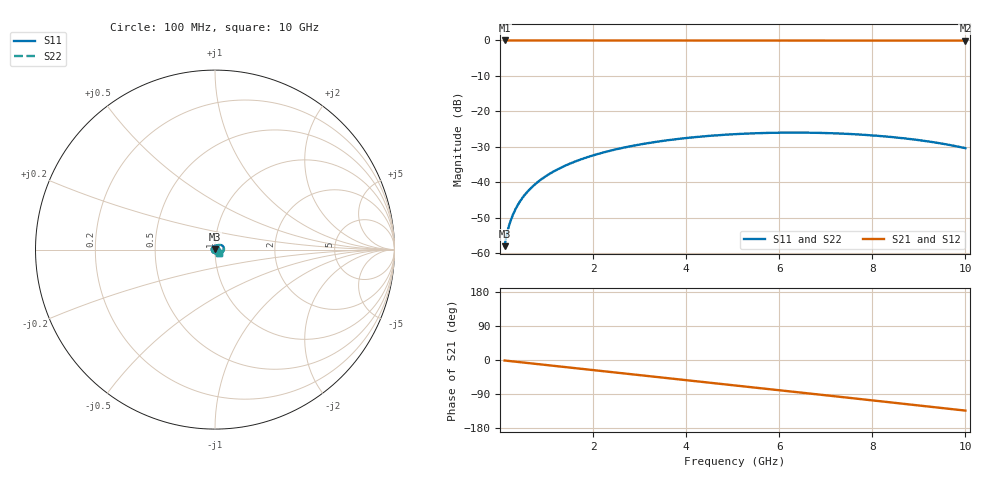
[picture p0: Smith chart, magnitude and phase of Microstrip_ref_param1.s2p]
! Sonnet Data File
! From: em Version : 18.58
! From Project: Microstrip_ref
! Data is De-embedded
! Data File Written: 05/20/2025 14:19:08
!< HDATE 12/30/2024 21:26:45
!< MDATE 12/30/2024 21:26:45
!< PARAMS
!< w = 210.0
!< END PARAMS
# GHZ S MA R 50.00000
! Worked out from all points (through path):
!   397 points, 100 MHz to 10 GHz, reference 50 ohm
!   highest |S21| = 0.00 dB at 100 MHz (marker M1); lowest = 0.0 dB at 10 GHz (marker M2)
!   group delay of S21, straight-line fit = 37.1 ps
!   lowest |S11| = -58.1 dB at 100 MHz (marker M3), VSWR 1.00, Z = 50 + j0.124 ohm
!   |S11| at or under -10 dB: start of sweep to end of sweep
!   |S22| runs from -58.1 to -26.0 dB; largest |S21 - S12| = 7.2e-13
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0.1  0.001247 93.7  0.9999 -1.3  0.9999 -1.3  0.001247 93.7
0.125  0.001558 92.8  0.9999 -1.7  0.9999 -1.7  0.001558 92.8
0.175  0.002179 91.4  0.9999 -2.3  0.9999 -2.3  0.002179 91.4
0.225  0.0028 90.3  0.9998 -3.0  0.9998 -3.0  0.002799 90.4
0.275  0.003421 89.4  0.9998 -3.6  0.9998 -3.6  0.00342 89.4
0.4  0.004969 87.4  0.9998 -5.3  0.9998 -5.3  0.004968 87.4
0.575  0.007127 84.8  0.9997 -7.6  0.9997 -7.6  0.007126 84.8
0.8  0.009879 81.7  0.9996 -10.6  0.9996 -10.6  0.009879 81.7
1.05  0.0129 78.3  0.9994 -13.9  0.9994 -13.9  0.0129 78.3
1.375  0.01675 73.9  0.9992 -18.2  0.9992 -18.2  0.01675 73.9
1.75  0.02106 68.9  0.999 -23.2  0.999 -23.2  0.02106 68.9
2.1  0.02492 64.2  0.9987 -27.8  0.9987 -27.8  0.02492 64.2
2.5  0.0291 58.9  0.9985 -33.2  0.9985 -33.2  0.0291 58.9
3.4  0.0374 46.9  0.9978 -45.1  0.9978 -45.1  0.0374 47.0
4.25  0.04353 35.7  0.9972 -56.4  0.9972 -56.4  0.04354 35.7
5.05  0.04755 25.1  0.9966 -67.0  0.9966 -67.0  0.04755 25.1
5.875  0.04973 14.1  0.9961 -78.0  0.9961 -78.0  0.04973 14.1
6.7  0.04981 3.2  0.9957 -89.1  0.9957 -89.1  0.04981 3.2
7.525  0.04778 -7.8  0.9954 -100.1  0.9954 -100.1  0.04778 -7.8
8.35  0.04371 -18.7  0.9952 -111.2  0.9952 -111.2  0.04371 -18.7
9.225  0.03734 -30.3  0.9951 -123.0  0.9951 -123.0  0.03734 -30.3
10  0.03016 -40.5  0.995 -133.5  0.995 -133.5  0.03016 -40.5
